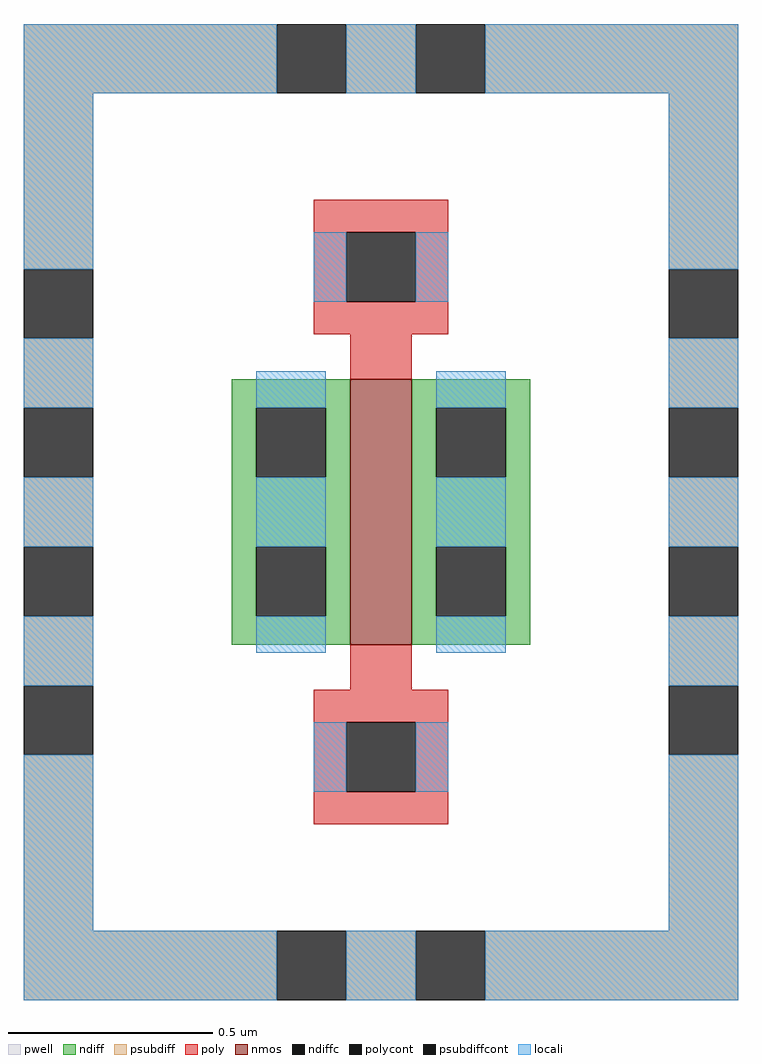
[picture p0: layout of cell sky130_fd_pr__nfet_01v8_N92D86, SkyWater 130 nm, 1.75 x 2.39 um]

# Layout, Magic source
magic
tech sky130A
magscale 1 2
<< pwell >>
rect -175 205 175 239
rect -175 -205 -141 205
rect 141 -205 175 205
rect -175 -239 175 -205
<< nmos >>
rect -15 -65 15 65
<< ndiff >>
rect -73 51 -15 65
rect -73 17 -61 51
rect -27 17 -15 51
rect -73 -17 -15 17
rect -73 -51 -61 -17
rect -27 -51 -15 -17
rect -73 -65 -15 -51
rect 15 51 73 65
rect 15 17 27 51
rect 61 17 73 51
rect 15 -17 73 17
rect 15 -51 27 -17
rect 61 -51 73 -17
rect 15 -65 73 -51
<< ndiffc >>
rect -61 17 -27 51
rect -61 -51 -27 -17
rect 27 17 61 51
rect 27 -51 61 -17
<< psubdiff >>
rect -175 205 -51 239
rect -17 205 17 239
rect 51 205 175 239
rect -175 119 -141 205
rect 141 119 175 205
rect -175 51 -141 85
rect -175 -17 -141 17
rect -175 -85 -141 -51
rect 141 51 175 85
rect 141 -17 175 17
rect 141 -85 175 -51
rect -175 -205 -141 -119
rect 141 -205 175 -119
rect -175 -239 -51 -205
rect -17 -239 17 -205
rect 51 -239 175 -205
<< psubdiffcont >>
rect -51 205 -17 239
rect 17 205 51 239
rect -175 85 -141 119
rect 141 85 175 119
rect -175 17 -141 51
rect -175 -51 -141 -17
rect 141 17 175 51
rect 141 -51 175 -17
rect -175 -119 -141 -85
rect 141 -119 175 -85
rect -51 -239 -17 -205
rect 17 -239 51 -205
<< poly >>
rect -33 137 33 153
rect -33 103 -17 137
rect 17 103 33 137
rect -33 87 33 103
rect -15 65 15 87
rect -15 -87 15 -65
rect -33 -103 33 -87
rect -33 -137 -17 -103
rect 17 -137 33 -103
rect -33 -153 33 -137
<< polycont >>
rect -17 103 17 137
rect -17 -137 17 -103
<< locali >>
rect -175 205 -51 239
rect -17 205 17 239
rect 51 205 175 239
rect -175 119 -141 205
rect -33 103 -17 137
rect 17 103 33 137
rect 141 119 175 205
rect -175 51 -141 85
rect -175 -17 -141 17
rect -175 -85 -141 -51
rect -61 51 -27 69
rect -61 -17 -27 17
rect -61 -69 -27 -51
rect 27 51 61 69
rect 27 -17 61 17
rect 27 -69 61 -51
rect 141 51 175 85
rect 141 -17 175 17
rect 141 -85 175 -51
rect -175 -205 -141 -119
rect -33 -137 -17 -103
rect 17 -137 33 -103
rect 141 -205 175 -119
rect -175 -239 -51 -205
rect -17 -239 17 -205
rect 51 -239 175 -205
<< properties >>
string FIXED_BBOX -158 -222 158 222
<< end >>
